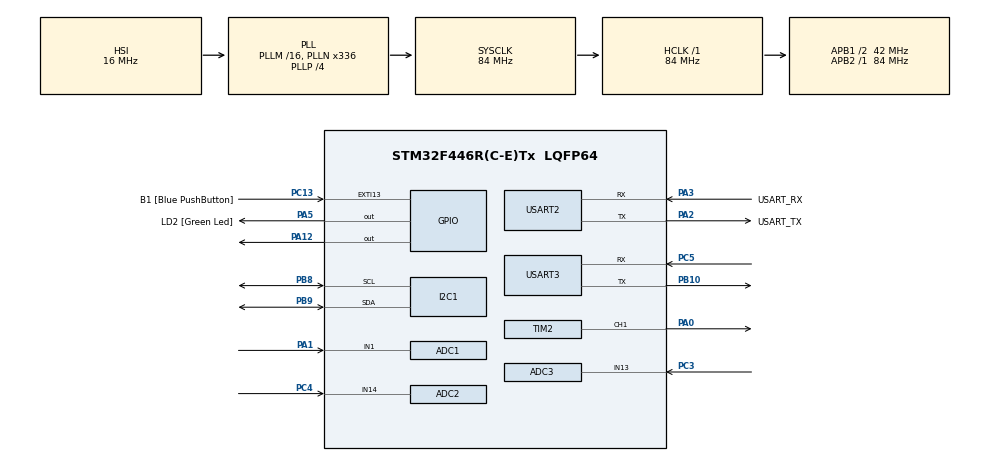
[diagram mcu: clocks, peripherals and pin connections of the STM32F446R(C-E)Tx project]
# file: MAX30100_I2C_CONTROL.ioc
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ADC1.Channel-11\#ChannelRegularConversion=ADC_CHANNEL_1
ADC1.NbrOfConversionFlag=1
ADC1.Rank-11\#ChannelRegularConversion=1
ADC1.SamplingTime-11\#ChannelRegularConversion=ADC_SAMPLETIME_3CYCLES
ADC1.master=1
ADC2.Channel-11\#ChannelRegularConversion=ADC_CHANNEL_14
ADC2.NbrOfConversion=1
ADC2.NbrOfConversionFlag=1
ADC2.Rank-11\#ChannelRegularConversion=1
ADC2.Resolution=ADC_RESOLUTION_8B
ADC2.SamplingTime-11\#ChannelRegularConversion=ADC_SAMPLETIME_3CYCLES
ADC3.Channel-1\#ChannelRegularConversion=ADC_CHANNEL_13
ADC3.NbrOfConversionFlag=1
ADC3.Rank-1\#ChannelRegularConversion=1
ADC3.SamplingTime-1\#ChannelRegularConversion=ADC_SAMPLETIME_3CYCLES
Mcu.Family=STM32F4
Mcu.Name=STM32F446R(C-E)Tx
Mcu.Package=LQFP64
Mcu.UserConstants=TIMER7PERIOD,1575
NVIC.ADC_IRQn=true\:0\:0\:false\:false\:true\:true\:true
NVIC.PriorityGroup=NVIC_PRIORITYGROUP_0
NVIC.TIM3_IRQn=true\:0\:0\:false\:false\:true\:true\:true
NVIC.TIM7_IRQn=true\:0\:0\:false\:false\:true\:true\:true
PA0-WKUP.Signal=S_TIM2_CH1_ETR
PA1.Signal=ADCx_IN1
PA12.Signal=GPIO_Output
PA13.GPIO_Label=TMS
PA13.Mode=Serial_Wire
PA13.Signal=SYS_JTMS-SWDIO
PA14.GPIO_Label=TCK
PA14.Mode=Serial_Wire
PA14.Signal=SYS_JTCK-SWCLK
PA2.GPIO_Label=USART_TX
PA2.Mode=Asynchronous
PA2.Signal=USART2_TX
PA3.GPIO_Label=USART_RX
PA3.Mode=Asynchronous
PA3.Signal=USART2_RX
PA5.GPIO_Label=LD2 [Green Led]
PA5.Signal=GPIO_Output
PB10.Mode=Asynchronous
PB10.Signal=USART3_TX
PB3.GPIO_Label=SWO
PB3.Signal=SYS_JTDO-SWO
PB8.GPIO_Pu=GPIO_PULLUP
PB8.Mode=I2C
PB8.Signal=I2C1_SCL
PB9.GPIO_Pu=GPIO_PULLUP
PB9.Mode=I2C
PB9.Signal=I2C1_SDA
PC13.GPIO_Label=B1 [Blue PushButton]
PC13.GPIO_ModeDefaultEXTI=GPIO_MODE_IT_FALLING
PC13.Signal=GPXTI13
PC14-OSC32_IN.Mode=LSE-External-Oscillator
PC14-OSC32_IN.Signal=RCC_OSC32_IN
PC15-OSC32_OUT.Mode=LSE-External-Oscillator
PC15-OSC32_OUT.Signal=RCC_OSC32_OUT
PC3.Signal=ADCx_IN13
PC4.Signal=ADCx_IN14
PC5.Mode=Asynchronous
PC5.Signal=USART3_RX
PH0-OSC_IN.Mode=HSE-External-Oscillator
PH0-OSC_IN.Signal=RCC_OSC_IN
PH1-OSC_OUT.Mode=HSE-External-Oscillator
PH1-OSC_OUT.Signal=RCC_OSC_OUT
ProjectManager.HeapSize=0x200
ProjectManager.StackSize=0x400
ProjectManager.TargetToolchain=STM32CubeIDE
RCC.48MHZClocksFreq_Value=84000000
RCC.AHBFreq_Value=84000000
RCC.APB1CLKDivider=RCC_HCLK_DIV2
RCC.APB1Freq_Value=42000000
RCC.APB1TimFreq_Value=84000000
RCC.APB2Freq_Value=84000000
RCC.APB2TimFreq_Value=84000000
RCC.CortexFreq_Value=84000000
RCC.FLatency-AdvancedSettings=FLASH_LATENCY_2
RCC.HCLKFreq_Value=84000000
RCC.HSE_VALUE=8000000
RCC.HSI_VALUE=16000000
RCC.PLLN=336
RCC.PLLP=RCC_PLLP_DIV4
RCC.SYSCLKFreq_VALUE=84000000
RCC.SYSCLKSource=RCC_SYSCLKSOURCE_PLLCLK
RCC.USBFreq_Value=168000000
RCC.VCOOutputFreq_Value=336000000
SH.ADCx_IN1.0=ADC1_IN1,IN1
SH.ADCx_IN13.0=ADC3_IN13,IN13
SH.ADCx_IN14.0=ADC2_IN14,IN14
SH.S_TIM2_CH1_ETR.0=TIM2_CH1,PWM Generation1 CH1
TIM2.AutoReloadPreload=TIM_AUTORELOAD_PRELOAD_ENABLE
TIM2.Channel-PWM\ Generation1\ CH1=TIM_CHANNEL_1
TIM2.Period=65535
TIM3.AutoReloadPreload=TIM_AUTORELOAD_PRELOAD_ENABLE
TIM3.Period=100-1
TIM3.Prescaler=8000-1
TIM7.AutoReloadPreload=TIM_AUTORELOAD_PRELOAD_ENABLE
TIM7.Period=TIMER7PERIOD - 1
TIM7.Prescaler=8000 - 1
USART2.VirtualMode=VM_ASYNC
USART3.VirtualMode=VM_ASYNC
VP_TIM2_VS_ClockSourceINT.Mode=Internal
VP_TIM3_VS_ClockSourceINT.Mode=Internal
VP_TIM7_VS_ClockSourceINT.Mode=Enable_Timer
board=NUCLEO-F446RE

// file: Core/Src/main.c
/* USER CODE BEGIN Header */
/**
  ******************************************************************************
  * @file           : main.c
  * @brief          : Main program body
  ******************************************************************************
  * @attention
  *
  * <h2><center>&copy; Copyright (c) 2022 STMicroelectronics.
  * All rights reserved.</center></h2>
  *
  * This software component is licensed by ST under BSD 3-Clause license,
  * the "License"; You may not use this file except in compliance with the
  * License. You may obtain a copy of the License at:
  *                        opensource.org/licenses/BSD-3-Clause
  *
  ******************************************************************************
  */
/* USER CODE END Header */
#include "main.h"

/* USER CODE BEGIN Includes */
#include "max30100.h"
#include <string.h>
#include <stdio.h>
/* USER CODE END Includes */

ADC_HandleTypeDef hadc1;
ADC_HandleTypeDef hadc2;
ADC_HandleTypeDef hadc3;

I2C_HandleTypeDef hi2c1;

TIM_HandleTypeDef htim2;
TIM_HandleTypeDef htim3;
TIM_HandleTypeDef htim7;

UART_HandleTypeDef huart2;
UART_HandleTypeDef huart3;

/* USER CODE BEGIN PV */
uint8_t pData;
uint8_t pDataR[16];

float output_array[] = {0.56, 0.66, 0.75, 0.83, 0.89, 0.94, 0.98, 1.00, 1.00, 0.99, 0.96, 0.92, 0.86, 0.78, 0.70, 0.61, 0.51, 0.39, 0.27, 0.15};
static uint8_t timerFlag;
uint8_t output_indx;
uint8_t outputToggle; // Set to 1 for output waveform emition
uint8_t ADC_thermRes, ADC_power5Res, ADC_power12Res;
int32_t CH1_DC = 0;
/* USER CODE END PV */

void SystemClock_Config(void);
static void MX_GPIO_Init(void);
static void MX_USART2_UART_Init(void);
static void MX_I2C1_Init(void);
static void MX_TIM2_Init(void);
static void MX_USART3_UART_Init(void);
static void MX_ADC1_Init(void);
static void MX_ADC2_Init(void);
static void MX_ADC3_Init(void);
static void MX_TIM7_Init(void);
static void MX_TIM3_Init(void);

int main(void)
{
  /* USER CODE BEGIN 1 */
	uint8_t buf[64];
	uint8_t array_indx;
	uint8_t powerRegCheck = POWER_REG_ONOFF;
	uint8_t tempCheck = TEMP_ONOFF;
	//uint8_t spo2_rdy = 0x00;
	uint16_t SpO2_c = 3;
	uint16_t xx = 0; // Variable created for value acquisition
	//float* spo2Point;
	float ir_s, vr_s, SpO2_s, SpO2_avg;
	float temperature = 0;
	float FiveVoltVal = 0;
	float TwelveVoltVal = 0;
	float SpO2_arr[DEPTH];
	HAL_StatusTypeDef ret;
	struct spo2vals to_recieve;
  /* USER CODE END 1 */

  /* MCU Configuration--------------------------------------------------------*/

  /* Reset of all peripherals, Initializes the Flash interface and the Systick. */
  HAL_Init();

  /* Configure the system clock */
  SystemClock_Config();

  /* Initialize all configured peripherals */
  MX_GPIO_Init();
  MX_USART2_UART_Init();
  MX_I2C1_Init();
  MX_TIM2_Init();
  MX_USART3_UART_Init();
  MX_ADC1_Init();
  MX_ADC2_Init();
  MX_ADC3_Init();
  MX_TIM7_Init();
  MX_TIM3_Init();
  /* USER CODE BEGIN 2 */

	array_indx = 0;
	output_indx = 0;
	outputToggle = 0;

	pData = 0x50; // Programmed to generate Temp_RDY and SpO2_RDY interrupts
	MAX30100_WRITE(hi2c1, REG_INTERRUPT_CONFIG, pData);

	pData = 0x0B; // Enable Temperature and SpO2 measurement
	MAX30100_WRITE(hi2c1, REG_CONFIG_MODE, pData);

	pData = 0x55; // Set samples per second to 600 and pulse width to 400us (14 bit resolution)
	MAX30100_WRITE(hi2c1, REG_CONFIG_SpO2, pData);

	pData = LED_POWER; // Set both IR and Red LED current (by default, 27.1mA)
	MAX30100_WRITE(hi2c1, REG_CONFIG_LEDS, pData);

	timerFlag = 0;
	HAL_TIM_Base_Start_IT(&htim3);
	HAL_TIM_Base_Start_IT(&htim7);
	HAL_TIM_PWM_Start(&htim2, TIM_CHANNEL_1);
	CH1_DC = 0;

	MAX30100_DATA_REQUEST(hi2c1); // Request the first sample

  /* USER CODE END 2 */

  /* Infinite loop */
	while (1)
	{

    /* USER CODE BEGIN 3 */
		if(timerFlag == 1) // At 500HZ, give the program time to take all 4 measurements, plus a little extra for wiggle room
		{
			xx += 1;
			HAL_GPIO_TogglePin( GPIOA, GPIO_PIN_12); // Pin toggle to manually check if the timing is properly established
			if(tempCheck == 1) { HAL_ADC_Start_IT(&hadc2); } // Start Temperature reading (if toggled on)
			if(powerRegCheck == 1) { HAL_ADC_Start_IT(&hadc1); HAL_ADC_Start_IT(&hadc3); } // Start power supply reading (if toggled on)

			// Now check that the FIFO is ready to provide the data
			do
			{
			  buf[0] = REG_INTERRUPTS;
			  ret = HAL_I2C_Master_Receive(&hi2c1, MAX_ADDR, buf, 2, HAL_MAX_DELAY);
			  if ( ret != HAL_OK ) {
					  strcpy((char*)buf, "ErrorRqst\r\n");
			  }
			} while(buf[0] && 0x50 != 0x50);

			// We now want to actually read the FIFO
			do {
				ret = MAX30100_TRANSMIT(hi2c1, REG_SpO2_WRPT); // Ask for the data
			} while (ret != HAL_OK);

			// Read the values
			to_recieve = MAX30100_SPO2_EXTRACT(hi2c1); // Receive data from the FIFO. Note that, this reads the average of all 4 of the samples stored in the FIFO
			ir_s = to_recieve.ir_val;
			vr_s = to_recieve.vr_val;
			SpO2_s = ir_s / (ir_s + vr_s) * 100;
			SpO2_arr[array_indx] = SpO2_s;
			array_indx++;
			if(array_indx >= DEPTH)
			{
				array_indx = 0;
			}

			SpO2_avg = MAX30100_SPO2_AVRG(SpO2_arr);

			if(SpO2_avg < SpO2_s)
			{
				SpO2_c = SpO2_c + UPTICK;
				if(SpO2_c >= THRESHOLD)
				{
					outputToggle = 1;
					SpO2_c = THRESHOLD;
				}
			} else {
				SpO2_c = SpO2_c - DOWNTICK;
				if(SpO2_c <= DOWNTICK)
				{
					SpO2_c = DOWNTICK;
				}
			}

			// Debug UART transmission
			if(tempCheck == 1)
			{
				temperature = (float) ADC_thermRes;
				sprintf((char*)buf, "%3.0f ", temperature);
				HAL_UART_Transmit(&huart2, buf, strlen((char*)buf), HAL_MAX_DELAY);
			}
			if(powerRegCheck == 1)
			{
				FiveVoltVal = (float) (ADC_power5Res / 4096 * 3.3);
				TwelveVoltVal = (float) (ADC_power12Res / 4096 * 3.3);
				sprintf((char*)buf, "%3.0f %3.0f || ", FiveVoltVal, TwelveVoltVal);
				HAL_UART_Transmit(&huart2, buf, strlen((char*)buf), HAL_MAX_DELAY);
			}

			// Debug UART transmit values
			// sprintf((char*)buf, "%i %d :  || ", output_indx, (int) CH1_DC);
			// HAL_UART_Transmit(&huart2, buf, strlen((char*)buf), HAL_MAX_DELAY);
			sprintf((char*)buf, "%i %4.2f %4.2f %i %i ;\n\r", xx, SpO2_s, SpO2_avg, SpO2_c, outputToggle);
			HAL_UART_Transmit(&huart2, buf, strlen((char*)buf), HAL_MAX_DELAY);

			MAX30100_DATA_REQUEST(hi2c1); // Request the next sample

			timerFlag = 0;
		}
	}
  /* USER CODE END 3 */
}

void SystemClock_Config(void)
{
  RCC_OscInitTypeDef RCC_OscInitStruct = {0};
  RCC_ClkInitTypeDef RCC_ClkInitStruct = {0};

  /** Configure the main internal regulator output voltage
  */
  __HAL_RCC_PWR_CLK_ENABLE();
  __HAL_PWR_VOLTAGESCALING_CONFIG(PWR_REGULATOR_VOLTAGE_SCALE3);
  /** Initializes the RCC Oscillators according to the specified parameters
  * in the RCC_OscInitTypeDef structure.
  */
  RCC_OscInitStruct.OscillatorType = RCC_OSCILLATORTYPE_HSI;
  RCC_OscInitStruct.HSIState = RCC_HSI_ON;
  RCC_OscInitStruct.HSICalibrationValue = RCC_HSICALIBRATION_DEFAULT;
  RCC_OscInitStruct.PLL.PLLState = RCC_PLL_ON;
  RCC_OscInitStruct.PLL.PLLSource = RCC_PLLSOURCE_HSI;
  RCC_OscInitStruct.PLL.PLLM = 16;
  RCC_OscInitStruct.PLL.PLLN = 336;
  RCC_OscInitStruct.PLL.PLLP = RCC_PLLP_DIV4;
  RCC_OscInitStruct.PLL.PLLQ = 2;
  RCC_OscInitStruct.PLL.PLLR = 2;
  if (HAL_RCC_OscConfig(&RCC_OscInitStruct) != HAL_OK)
  {
    Error_Handler();
  }
  /** Initializes the CPU, AHB and APB buses clocks
  */
  RCC_ClkInitStruct.ClockType = RCC_CLOCKTYPE_HCLK|RCC_CLOCKTYPE_SYSCLK
                              |RCC_CLOCKTYPE_PCLK1|RCC_CLOCKTYPE_PCLK2;
  RCC_ClkInitStruct.SYSCLKSource = RCC_SYSCLKSOURCE_PLLCLK;
  RCC_ClkInitStruct.AHBCLKDivider = RCC_SYSCLK_DIV1;
  RCC_ClkInitStruct.APB1CLKDivider = RCC_HCLK_DIV2;
  RCC_ClkInitStruct.APB2CLKDivider = RCC_HCLK_DIV1;

  if (HAL_RCC_ClockConfig(&RCC_ClkInitStruct, FLASH_LATENCY_2) != HAL_OK)
  {
    Error_Handler();
  }
}

static void MX_ADC1_Init(void)
{

  ADC_ChannelConfTypeDef sConfig = {0};

  /** Configure the global features of the ADC (Clock, Resolution, Data Alignment and number of conversion)
  */
  hadc1.Instance = ADC1;
  hadc1.Init.ClockPrescaler = ADC_CLOCK_SYNC_PCLK_DIV4;
  hadc1.Init.Resolution = ADC_RESOLUTION_12B;
  hadc1.Init.ScanConvMode = DISABLE;
  hadc1.Init.ContinuousConvMode = DISABLE;
  hadc1.Init.DiscontinuousConvMode = DISABLE;
  hadc1.Init.ExternalTrigConvEdge = ADC_EXTERNALTRIGCONVEDGE_NONE;
  hadc1.Init.ExternalTrigConv = ADC_SOFTWARE_START;
  hadc1.Init.DataAlign = ADC_DATAALIGN_RIGHT;
  hadc1.Init.NbrOfConversion = 1;
  hadc1.Init.DMAContinuousRequests = DISABLE;
  hadc1.Init.EOCSelection = ADC_EOC_SINGLE_CONV;
  if (HAL_ADC_Init(&hadc1) != HAL_OK)
  {
    Error_Handler();
  }
  /** Configure for the selected ADC regular channel its corresponding rank in the sequencer and its sample time.
  */
  sConfig.Channel = ADC_CHANNEL_1;
  sConfig.Rank = 1;
  sConfig.SamplingTime = ADC_SAMPLETIME_3CYCLES;
  if (HAL_ADC_ConfigChannel(&hadc1, &sConfig) != HAL_OK)
  {
    Error_Handler();
  }

}

static void MX_ADC2_Init(void)
{

  ADC_ChannelConfTypeDef sConfig = {0};

  /** Configure the global features of the ADC (Clock, Resolution, Data Alignment and number of conversion)
  */
  hadc2.Instance = ADC2;
  hadc2.Init.ClockPrescaler = ADC_CLOCK_SYNC_PCLK_DIV4;
  hadc2.Init.Resolution = ADC_RESOLUTION_8B;
  hadc2.Init.ScanConvMode = DISABLE;
  hadc2.Init.ContinuousConvMode = DISABLE;
  hadc2.Init.DiscontinuousConvMode = DISABLE;
  hadc2.Init.ExternalTrigConvEdge = ADC_EXTERNALTRIGCONVEDGE_NONE;
  hadc2.Init.ExternalTrigConv = ADC_SOFTWARE_START;
  hadc2.Init.DataAlign = ADC_DATAALIGN_RIGHT;
  hadc2.Init.NbrOfConversion = 1;
  hadc2.Init.DMAContinuousRequests = DISABLE;
  hadc2.Init.EOCSelection = ADC_EOC_SINGLE_CONV;
  if (HAL_ADC_Init(&hadc2) != HAL_OK)
  {
    Error_Handler();
  }
  /** Configure for the selected ADC regular channel its corresponding rank in the sequencer and its sample time.
  */
  sConfig.Channel = ADC_CHANNEL_14;
  sConfig.Rank = 1;
  sConfig.SamplingTime = ADC_SAMPLETIME_3CYCLES;
  if (HAL_ADC_ConfigChannel(&hadc2, &sConfig) != HAL_OK)
  {
    Error_Handler();
  }

}

static void MX_ADC3_Init(void)
{

  ADC_ChannelConfTypeDef sConfig = {0};

  /** Configure the global features of the ADC (Clock, Resolution, Data Alignment and number of conversion)
  */
  hadc3.Instance = ADC3;
  hadc3.Init.ClockPrescaler = ADC_CLOCK_SYNC_PCLK_DIV4;
  hadc3.Init.Resolution = ADC_RESOLUTION_12B;
  hadc3.Init.ScanConvMode = DISABLE;
  hadc3.Init.ContinuousConvMode = DISABLE;
  hadc3.Init.DiscontinuousConvMode = DISABLE;
  hadc3.Init.ExternalTrigConvEdge = ADC_EXTERNALTRIGCONVEDGE_NONE;
  hadc3.Init.ExternalTrigConv = ADC_SOFTWARE_START;
  hadc3.Init.DataAlign = ADC_DATAALIGN_RIGHT;
  hadc3.Init.NbrOfConversion = 1;
  hadc3.Init.DMAContinuousRequests = DISABLE;
  hadc3.Init.EOCSelection = ADC_EOC_SINGLE_CONV;
  if (HAL_ADC_Init(&hadc3) != HAL_OK)
  {
    Error_Handler();
  }
  /** Configure for the selected ADC regular channel its corresponding rank in the sequencer and its sample time.
  */
  sConfig.Channel = ADC_CHANNEL_13;
  sConfig.Rank = 1;
  sConfig.SamplingTime = ADC_SAMPLETIME_3CYCLES;
  if (HAL_ADC_ConfigChannel(&hadc3, &sConfig) != HAL_OK)
  {
    Error_Handler();
  }

}

static void MX_I2C1_Init(void)
{

  hi2c1.Instance = I2C1;
  hi2c1.Init.ClockSpeed = 100000;
  hi2c1.Init.DutyCycle = I2C_DUTYCYCLE_2;
  hi2c1.Init.OwnAddress1 = 0;
  hi2c1.Init.AddressingMode = I2C_ADDRESSINGMODE_7BIT;
  hi2c1.Init.DualAddressMode = I2C_DUALADDRESS_DISABLE;
  hi2c1.Init.OwnAddress2 = 0;
  hi2c1.Init.GeneralCallMode = I2C_GENERALCALL_DISABLE;
  hi2c1.Init.NoStretchMode = I2C_NOSTRETCH_DISABLE;
  if (HAL_I2C_Init(&hi2c1) != HAL_OK)
  {
    Error_Handler();
  }

}

static void MX_TIM2_Init(void)
{

  TIM_ClockConfigTypeDef sClockSourceConfig = {0};
  TIM_MasterConfigTypeDef sMasterConfig = {0};
  TIM_OC_InitTypeDef sConfigOC = {0};

  htim2.Instance = TIM2;
  htim2.Init.Prescaler = 0;
  htim2.Init.CounterMode = TIM_COUNTERMODE_UP;
  htim2.Init.Period = 65535;
  htim2.Init.ClockDivision = TIM_CLOCKDIVISION_DIV1;
  htim2.Init.AutoReloadPreload = TIM_AUTORELOAD_PRELOAD_ENABLE;
  if (HAL_TIM_Base_Init(&htim2) != HAL_OK)
  {
    Error_Handler();
  }
  sClockSourceConfig.ClockSource = TIM_CLOCKSOURCE_INTERNAL;
  if (HAL_TIM_ConfigClockSource(&htim2, &sClockSourceConfig) != HAL_OK)
  {
    Error_Handler();
  }
  if (HAL_TIM_PWM_Init(&htim2) != HAL_OK)
  {
    Error_Handler();
  }
  sMasterConfig.MasterOutputTrigger = TIM_TRGO_RESET;
  sMasterConfig.MasterSlaveMode = TIM_MASTERSLAVEMODE_DISABLE;
  if (HAL_TIMEx_MasterConfigSynchronization(&htim2, &sMasterConfig) != HAL_OK)
  {
    Error_Handler();
  }
  sConfigOC.OCMode = TIM_OCMODE_PWM1;
  sConfigOC.Pulse = 0;
  sConfigOC.OCPolarity = TIM_OCPOLARITY_HIGH;
  sConfigOC.OCFastMode = TIM_OCFAST_DISABLE;
  if (HAL_TIM_PWM_ConfigChannel(&htim2, &sConfigOC, TIM_CHANNEL_1) != HAL_OK)
  {
    Error_Handler();
  }
  HAL_TIM_MspPostInit(&htim2);

}

static void MX_TIM3_Init(void)
{

  TIM_ClockConfigTypeDef sClockSourceConfig = {0};
  TIM_MasterConfigTypeDef sMasterConfig = {0};

  htim3.Instance = TIM3;
  htim3.Init.Prescaler = 8000-1;
  htim3.Init.CounterMode = TIM_COUNTERMODE_UP;
  htim3.Init.Period = 100-1;
  htim3.Init.ClockDivision = TIM_CLOCKDIVISION_DIV1;
  htim3.Init.AutoReloadPreload = TIM_AUTORELOAD_PRELOAD_ENABLE;
  if (HAL_TIM_Base_Init(&htim3) != HAL_OK)
  {
    Error_Handler();
  }
  sClockSourceConfig.ClockSource = TIM_CLOCKSOURCE_INTERNAL;
  if (HAL_TIM_ConfigClockSource(&htim3, &sClockSourceConfig) != HAL_OK)
  {
    Error_Handler();
  }
  sMasterConfig.MasterOutputTrigger = TIM_TRGO_RESET;
  sMasterConfig.MasterSlaveMode = TIM_MASTERSLAVEMODE_DISABLE;
  if (HAL_TIMEx_MasterConfigSynchronization(&htim3, &sMasterConfig) != HAL_OK)
  {
    Error_Handler();
  }

}

static void MX_TIM7_Init(void)
{

  TIM_MasterConfigTypeDef sMasterConfig = {0};

  htim7.Instance = TIM7;
  htim7.Init.Prescaler = 8000 - 1;
  htim7.Init.CounterMode = TIM_COUNTERMODE_UP;
  htim7.Init.Period = TIMER7PERIOD - 1;
  htim7.Init.AutoReloadPreload = TIM_AUTORELOAD_PRELOAD_ENABLE;
  if (HAL_TIM_Base_Init(&htim7) != HAL_OK)
  {
    Error_Handler();
  }
  sMasterConfig.MasterOutputTrigger = TIM_TRGO_RESET;
  sMasterConfig.MasterSlaveMode = TIM_MASTERSLAVEMODE_DISABLE;
  if (HAL_TIMEx_MasterConfigSynchronization(&htim7, &sMasterConfig) != HAL_OK)
  {
    Error_Handler();
  }

}

static void MX_USART2_UART_Init(void)
{

  huart2.Instance = USART2;
  huart2.Init.BaudRate = 115200;
  huart2.Init.WordLength = UART_WORDLENGTH_8B;
  huart2.Init.StopBits = UART_STOPBITS_1;
  huart2.Init.Parity = UART_PARITY_NONE;
  huart2.Init.Mode = UART_MODE_TX_RX;
  huart2.Init.HwFlowCtl = UART_HWCONTROL_NONE;
  huart2.Init.OverSampling = UART_OVERSAMPLING_16;
  if (HAL_UART_Init(&huart2) != HAL_OK)
  {
    Error_Handler();
  }

}

static void MX_USART3_UART_Init(void)
{

  huart3.Instance = USART3;
  huart3.Init.BaudRate = 115200;
  huart3.Init.WordLength = UART_WORDLENGTH_8B;
  huart3.Init.StopBits = UART_STOPBITS_1;
  huart3.Init.Parity = UART_PARITY_NONE;
  huart3.Init.Mode = UART_MODE_TX_RX;
  huart3.Init.HwFlowCtl = UART_HWCONTROL_NONE;
  huart3.Init.OverSampling = UART_OVERSAMPLING_16;
  if (HAL_UART_Init(&huart3) != HAL_OK)
  {
    Error_Handler();
  }

}

static void MX_GPIO_Init(void)
{
  GPIO_InitTypeDef GPIO_InitStruct = {0};

  /* GPIO Ports Clock Enable */
  __HAL_RCC_GPIOC_CLK_ENABLE();
  __HAL_RCC_GPIOH_CLK_ENABLE();
  __HAL_RCC_GPIOA_CLK_ENABLE();
  __HAL_RCC_GPIOB_CLK_ENABLE();

  /*Configure GPIO pin Output Level */
  HAL_GPIO_WritePin(GPIOA, LD2_Pin|GPIO_PIN_12, GPIO_PIN_RESET);

  /*Configure GPIO pin : B1_Pin */
  GPIO_InitStruct.Pin = B1_Pin;
  GPIO_InitStruct.Mode = GPIO_MODE_IT_FALLING;
  GPIO_InitStruct.Pull = GPIO_NOPULL;
  HAL_GPIO_Init(B1_GPIO_Port, &GPIO_InitStruct);

  /*Configure GPIO pins : LD2_Pin PA12 */
  GPIO_InitStruct.Pin = LD2_Pin|GPIO_PIN_12;
  GPIO_InitStruct.Mode = GPIO_MODE_OUTPUT_PP;
  GPIO_InitStruct.Pull = GPIO_NOPULL;
  GPIO_InitStruct.Speed = GPIO_SPEED_FREQ_LOW;
  HAL_GPIO_Init(GPIOA, &GPIO_InitStruct);

}

/* USER CODE BEGIN 4 */
// Callback: timer has rolled over
void HAL_TIM_PeriodElapsedCallback(TIM_HandleTypeDef *htim)
{
	// Check which version of the timer triggered this callback
	if (htim == &htim3) {
		timerFlag = 1;
	} else if ((htim == &htim7) && (outputToggle == 1))	{
		CH1_DC = (int) (65535 * output_array[output_indx]);
		output_indx = output_indx + 1;
		TIM2->CCR1 = CH1_DC;
		if(output_indx > 20)
		{
			output_indx = 0;
			outputToggle = 0;
		}
	}
}

// Callback: An ADC conversion has finished.
void HAL_ADC_ConvCpltCallback(ADC_HandleTypeDef *hadc)
{
	if(hadc == &hadc2)// Thermometer check
	{
		ADC_thermRes = HAL_ADC_GetValue(&hadc2);
	}
	else if (hadc == &hadc1) // 5V	check
	{
		ADC_power5Res = HAL_ADC_GetValue(&hadc1);
	}
	else if (hadc == &hadc3) //12V check
	{
		ADC_power12Res = HAL_ADC_GetValue(&hadc3);
	}
}
/* USER CODE END 4 */

void Error_Handler(void)
{
  __disable_irq();
  while (1)
  {
  }
}

/************************ (C) COPYRIGHT STMicroelectronics *****END OF FILE****/
